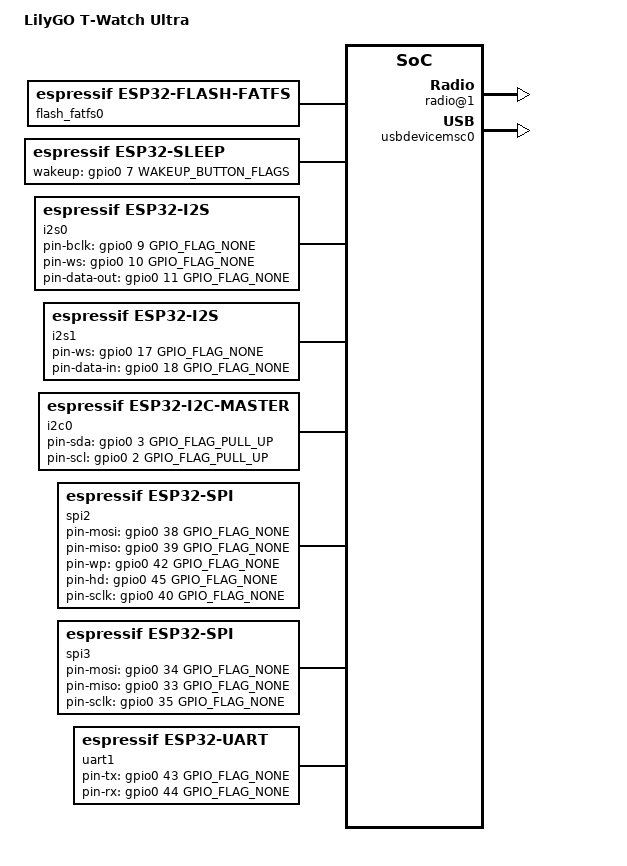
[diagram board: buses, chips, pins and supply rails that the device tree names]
/dts-v1/;

#include <tactility/bindings/root.h>
#include <tactility/bindings/esp32_ble.h>
#include <tactility/bindings/esp32_wifi_pinned.h>
#include <tactility/bindings/esp32_gpio.h>
#include <tactility/bindings/esp32_i2c_master.h>
#include <tactility/bindings/esp32_i2s.h>
#include <tactility/bindings/esp32_sleep.h>
#include <tactility/bindings/esp32_spi.h>
#include <tactility/bindings/esp32_sdspi.h>
#include <tactility/bindings/esp32_uart.h>
#include <tactility/bindings/esp32_usbdevice.h>
#include <tactility/bindings/esp32_flash_fatfs.h>
#include <tactility/bindings/gpio_hog.h>
#include <bindings/axp2101.h>
#include <bindings/axp2101_pwrkey.h>
#include <tactility/drivers/input_codes.h>
#include <bindings/pcf85063.h>
#include <bindings/xl9555.h>
#include <bindings/drv2605.h>
#include <bindings/co5300.h>
#include <bindings/co5300_backlight.h>
#include <bindings/cst92xx.h>
#include <bindings/sx1262.h>
#include <bindings/dummy_i2s_amp.h>
#include <bindings/pdm_mic.h>
#include <bindings/bhi260ap.h>
#include <gps_generic/bindings.h>

// Reference: https://github.com/Xinyuan-LilyGO/LilyGoLib/blob/master/docs/hardware/lilygo-t-watch-ultra.md
// Pin map: espressif/arduino-esp32 variants/lilygo_twatch_ultra/pins_arduino.h

// GPIO_FLAG_ACTIVE_LOW | GPIO_FLAG_PULL_UP. The devicetree parser doesn't evaluate '|' inside a
// cell, so keep the combined value here instead of composing it at the use site.
#define WAKEUP_BUTTON_FLAGS 9

/ {
	compatible = "root";
	model = "LilyGO T-Watch Ultra";

	// User data lives on the internal flash FAT partition (root path /data).
	flash_fatfs0 {
		compatible = "espressif,esp32-flash-fatfs";
		partition-label = "data";
		mount-path = "/data";
	};

	wifi0 {
		compatible = "espressif,esp32-wifi-pinned";
	};

	ble0 {
		compatible = "espressif,esp32-ble";
	};

	gpio0 {
		compatible = "espressif,esp32-gpio";
		gpio-count = <49>;
	};

	// The PWR button is the AXP2101 PWRKEY. Its IRQ output is GPIO7 (active low), so a short
	// press can wake the ESP32 from deep sleep. Board code enables only the PWRKEY short-press
	// interrupt and clears stale status before sleeping.
	sleep {
		compatible = "espressif,esp32-sleep";
		wakeup-gpios = <&gpio0 7 WAKEUP_BUTTON_FLAGS>;
	};

	// MAX98357A speaker amplifier: BCLK=9, WCLK=10, DOUT=11. No MCLK and no mic input.
	i2s0 {
		compatible = "espressif,esp32-i2s";
		port = <I2S_NUM_1>;
		pin-bclk = <&gpio0 9 GPIO_FLAG_NONE>;
		pin-ws = <&gpio0 10 GPIO_FLAG_NONE>;
		pin-data-out = <&gpio0 11 GPIO_FLAG_NONE>;
		// 8 x 512 frames = 16 KB (~93 ms at 44.1 kHz stereo). Each descriptor stays at
		// 2 KB, inside the 4 KB per-descriptor limit.
		dma-desc-num = <8>;
		dma-frame-num = <512>;
	};

	// TDK T3902 PDM microphone: SCK=17 doubles as the PDM clock, DATA=18. PDM RX is
	// hardware-restricted to I2S controller 0, so it gets its own node (the speaker is on
	// I2S_NUM_1).
	i2s1 {
		compatible = "espressif,esp32-i2s";
		port = <I2S_NUM_0>;
		pin-ws = <&gpio0 17 GPIO_FLAG_NONE>;
		pin-data-in = <&gpio0 18 GPIO_FLAG_NONE>;
		// PDM RX hardware high-pass at 55 Hz (ESP-IDF default is 35.5 Hz).
		pdm-highpass-cutoff-hz = <55>;
	};

	microphone0 {
		compatible = "tdk,t3902";
		i2s = <&i2s1>;
		channels = <1>;
		// The T3902 is hotter than the SPM1423 the driver's 4x default was tuned for, but
		// the recordings are still quiet. 7x for level; watch for clipping on loud speech.
		input-gain-percent = <700>;
	};

	// Shared I2C bus: touch, expander, smart sensor, PMU, RTC and haptics.
	// 400 kHz: the BHI260AP uploads ~100 KB of firmware over this bus at boot.
	i2c0 {
		compatible = "espressif,esp32-i2c-master";
		port = <I2C_NUM_0>;
		clock-frequency = <400000>;
		pin-sda = <&gpio0 3 GPIO_FLAG_PULL_UP>;
		pin-scl = <&gpio0 2 GPIO_FLAG_PULL_UP>;

		// XL9555 16-bit I/O expander. The panel/touch/haptic power and reset lines hang off it,
		// so the rails are enabled here before the display, touch and haptic drivers start.
		xl9555: xl9555 {
			compatible = "xlsemi,xl9555";
			reg = <0x20>;

			haptic_enable {
				compatible = "gpio-hog";
				pin = <&xl9555 6 GPIO_FLAG_NONE>;
				mode = <GPIO_HOG_MODE_OUTPUT_HIGH>;
			};

			display_power_enable {
				compatible = "gpio-hog";
				pin = <&xl9555 7 GPIO_FLAG_NONE>;
				mode = <GPIO_HOG_MODE_OUTPUT_HIGH>;
			};

			// Selects the built-in LoRa antenna (low = USB RF path).
			lora_antenna_select {
				compatible = "gpio-hog";
				pin = <&xl9555 11 GPIO_FLAG_NONE>;
				mode = <GPIO_HOG_MODE_OUTPUT_HIGH>;
			};
		};

		// AXP2101 PMIC: ALDO1=SD, ALDO2=display, ALDO3=LoRa, ALDO4=sensor, BLDO1=GNSS,
		// BLDO2=speaker, DLDO1=NFC.
		axp2101: axp2101 {
			compatible = "x-powers,axp2101";
			reg = <0x34>;
			aldo1-millivolt = <3300>;
			aldo1-enabled;
			aldo2-millivolt = <3300>;
			aldo2-enabled;
			aldo3-millivolt = <3300>;
			aldo3-enabled;
			aldo4-millivolt = <1800>;
			aldo4-enabled;
			bldo1-millivolt = <3300>;
			bldo1-enabled;
			bldo2-millivolt = <3300>;
			bldo2-enabled;
			dldo1-enabled;

			// The PWR button is the AXP2101 PWRKEY. Expose its short press as a kernel button so
			// core standby can use it as a wake source and ButtonActions can open the power menu.
			pwrkey {
				compatible = "x-powers,axp2101-pwrkey";
				short-press-code = <BUTTON_KEY_POWER>;
			};
		};

		pcf85063: pcf85063 {
			compatible = "nxp,pcf85063";
			reg = <0x51>;
		};

		drv2605: drv2605 {
			compatible = "ti,drv2605";
			reg = <0x5A>;
			autoplay;
		};

		// Hynitron CST9217 touch controller. Reset is routed through the XL9555 (pin 8).
		touch0 {
			compatible = "hynitron,cst92xx";
			reg = <0x1A>;
			x-max = <410>;
			y-max = <502>;
			pin-reset = <&xl9555 8 GPIO_FLAG_NONE>;
		};

		// Bosch BHI260AP smart sensor (6-axis IMU + sensor hub).
		// Firmware is loaded at start-up; see Drivers/bhi260ap-module/README.md.
		imu0 {
			compatible = "bosch,bhi260ap";
			reg = <0x28>;
			// Sensor frame -> device frame. The raw sensor X/Y axes are rotated 90 degrees
			// clockwise from the UI frame, and its Z axis points into the device (bottom-layer
			// mount). Rotate X/Y by +90 degrees (x' = -y, y' = x) and invert Z.
			mount-matrix = <0 -1 0 1 0 0 0 0 -1>;
			pin-interrupt = <&gpio0 8 GPIO_FLAG_NONE>;
		};
	};

	// CO5300 AMOLED on QSPI: CS=41, SCK=40, D0..D3=38,39,42,45, RST=37, TE=6.
	spi2 {
		compatible = "espressif,esp32-spi";
		host = <SPI2_HOST>;
		cs-gpios = <&gpio0 41 GPIO_FLAG_NONE>;
		pin-mosi = <&gpio0 38 GPIO_FLAG_NONE>;
		pin-miso = <&gpio0 39 GPIO_FLAG_NONE>;
		pin-wp = <&gpio0 42 GPIO_FLAG_NONE>;
		pin-hd = <&gpio0 45 GPIO_FLAG_NONE>;
		pin-sclk = <&gpio0 40 GPIO_FLAG_NONE>;
		// A frame is 410 * 502 * 2 = 411,640 bytes and esp_lcd chunk-splits it at
		// max-transfer-size. The panel IO still bounces each chunk through internal DMA RAM
		// (psram-dma-direct is cleared below), and queue depth 1 frees that bounce buffer in
		// spi_device_get_trans_result() before the next chunk is allocated, so the peak internal
		// demand is one chunk, not one per queue slot. That matters when Wi-Fi, BLE and an app are
		// all running: internal DMA RAM then drops to ~11 KB free with a largest block of ~4.6 KB,
		// and two in-flight 4 KB chunks start failing with
		// "Failed to allocate priv TX buffer" - which silently drops that part of the screen
		// because DisplayApi's draw_bitmap returns an error the flush path does not retry.
		// 2 KB chunks keep the peak at one 2 KB alignment-rounded allocation, which still fits
		// when the largest block is fragmented down to ~2.5 KB. The per-chunk bounce copy and
		// completion round trip cost more than the 2 KB transfer itself, but a 16-row full-width
		// strip is only 7 chunks (~1.5 ms), so interactive updates stay far below a 60 Hz frame.
		max-transfer-size = <2048>;

		display0: display@0 {
			compatible = "chipone,co5300";
			horizontal-resolution = <410>;
			vertical-resolution = <502>;
			// The visible area is the cover glass opening, which overlaps the corners of the
			// 410x502 AMOLED. Core derives the corner inset as r * (1 - 1/sqrt(2)), so 72 px
			// yields the ~21 px inset that matches the display.
			shape = <DISPLAY_SHAPE_ROUNDED>;
			corner-radius = <72>;
			gap-x = <22>;
			gap-y = <0>;
			// The CO5300 datasheet specifies a 20 ns minimum QSPI write cycle and a 50 MHz
			// maximum 4-wire SCL; 80 MHz produced corrupted (skewed) writes. 45 MHz is LilyGo's
			// own default and stays inside the limit.
			pixel-clock-hz = <45000000>;
			pin-reset = <&gpio0 37 GPIO_FLAG_NONE>;
			// Display TE is GPIO 6. Every flush waits for a V-blank, then presents a full-width
			// strip covering only the dirty rows. Narrow sub-width windows shear on this panel, so
			// the board rounds dirty areas to full-width strips (source/lvgl_flush_align.cpp)
			// before handing them to the core's PARTIAL-mode flush. With the full-height buffer
			// (lvgl.drawBufferLines=502) a full-screen refresh is one TE-waited band.
			pin-te = <&gpio0 6 GPIO_FLAG_NONE>;
			// 1, not 2: the panel IO keeps transaction-queue-depth bounce buffers alive at once,
			// and one chunk's worth is all this board can guarantee under app + Wi-Fi + BLE load.
			transaction-queue-depth = <1>;
			// psram-dma-direct is left at its false default: on the S3 the SPI DMA underflows
			// when reading PSRAM ("DMA TX underflow detected" and no panel output), so esp_lcd
			// must bounce each chunk through internal RAM. That bounce is why the chunk size
			// above is bounded by internal DMA RAM.
			// LilyGoLib's LilyGoWatchUltra bring-up sequence for this panel, in the component's
			// flattened [cmd, data-length, delay-ms, data...] encoding.
			init-sequence = [
				0xFE 0x01 0x00 0x00
				0xC4 0x01 0x00 0x80
				0x3A 0x01 0x00 0x55
				0x35 0x01 0x00 0x00
				0x53 0x01 0x0A 0x20
				0x63 0x01 0x0A 0xFF
				0x2A 0x04 0x00 0x00 0x16 0x01 0xAF
				0x2B 0x04 0x00 0x00 0x00 0x01 0xF5
				0x11 0x00 0x78
				0x29 0x00 0x0A
				0x51 0x01 0x00 0x00
			];

			// The CO5300 has no backlight pin; brightness is a panel command. The driver finds
			// this child device via the display's children, and the backlight uses its parent.
			display_backlight {
				compatible = "co5300-backlight";
				brightness-default = <255>;
			};
		};
	};

	// Shared SPI bus: SD card (CS=21) and SX1262 LoRa (CS=36).
	spi3 {
		compatible = "espressif,esp32-spi";
		host = <SPI3_HOST>;
		cs-gpios = <&gpio0 21 GPIO_FLAG_NONE>,
		           <&gpio0 36 GPIO_FLAG_NONE>;
		pin-mosi = <&gpio0 34 GPIO_FLAG_NONE>;
		pin-miso = <&gpio0 33 GPIO_FLAG_NONE>;
		pin-sclk = <&gpio0 35 GPIO_FLAG_NONE>;
		max-transfer-size = <4096>;

		sdcard@0 {
			compatible = "espressif,esp32-sdspi";
			frequency-khz = <20000>;
		};

		// SX1262 LoRa transceiver: CS=36, RST=47, BUSY=48, DIO1=14.
		// TODO: confirm whether the module fits a TCXO and its voltage.
		radio@1 {
			compatible = "semtech,sx1262";
			reg = <1>;
			spi-frequency-khz = <4000>;
			pin-reset = <&gpio0 47 GPIO_FLAG_NONE>;
			pin-dio1 = <&gpio0 14 GPIO_FLAG_NONE>;
			pin-busy = <&gpio0 48 GPIO_FLAG_NONE>;
		};
	};

	// u-blox MIA-M10Q GNSS on UART1: TX=43, RX=44, PPS=13.
	uart1 {
		compatible = "espressif,esp32-uart";
		port = <UART_NUM_1>;
		pin-tx = <&gpio0 43 GPIO_FLAG_NONE>;
		pin-rx = <&gpio0 44 GPIO_FLAG_NONE>;

		gps {
			compatible = "tactility,gps-generic";
			baud-rate = <38400>;
			model = <12>; // GPS_MODEL_UBLOX10 (u-blox MIA-M10Q)
		};
	};

	// MAX98357A class-D speaker amplifier. SD_MODE is tied high in hardware.
	speaker0 {
		compatible = "maxim,max98357a";
		i2s = <&i2s0>;
	};

	usbdevice0 {
		compatible = "espressif,esp32-usbdevice";

		usbdevicemsc0 {
			compatible = "espressif,esp32-usbdevice-msc";
		};
	};
};
